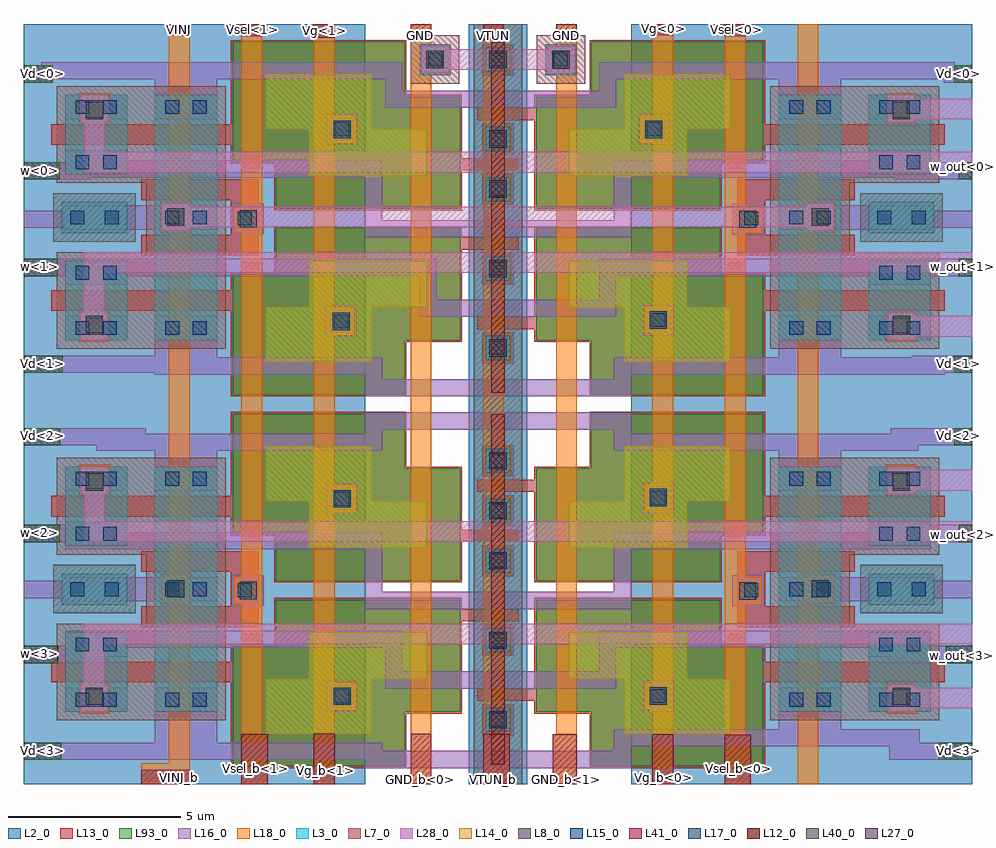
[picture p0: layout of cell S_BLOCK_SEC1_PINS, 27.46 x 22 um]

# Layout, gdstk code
from math import pi, radians
import gdstk
lib = gdstk.Library(unit=1e-6, precision=1e-09)
def R(c, l, rs):  # rectangles x0, y0, x1, y1
    for r in rs: c.add(gdstk.rectangle(r[:2], r[2:], *l))
def A(c, l, x, y, w, h, nx, ny, dx, dy):  # array of equal rectangles
    R(c, l, [(x+i*dx, y+j*dy, x+i*dx+w, y+j*dy+h) for i in range(nx) for j in range(ny)])
L2_0 = (2, 0)
L3_0 = (3, 0)
L7_0 = (7, 0)
L8_0 = (8, 0)
L12_0 = (12, 0)
L13_0 = (13, 0)
L14_0 = (14, 0)
L15_0 = (15, 0)
L16_0 = (16, 0)
L17_0 = (17, 0)
L18_0 = (18, 0)
L27_0 = (27, 0)
L28_0 = (28, 0)
L40_0 = (40, 0)
L41_0 = (41, 0)
L93_0 = (93, 0)

pch_cdns_744990268020 = lib.new_cell('pch_CDNS_744990268020')
R(pch_cdns_744990268020, L2_0, [(-2.05,-1.2,2.65,3)])
R(pch_cdns_744990268020, L3_0, [(-0.85,0,-0.15,1.8), (-0.85,0,-0.15,1.8), (-0.15,0,0.75,1.8), (0.75,0,1.45,1.8), (0.75,0,1.45,1.8)])
R(pch_cdns_744990268020, L7_0, [(-1.1,-0.25,1.7,2.05)])
R(pch_cdns_744990268020, L13_0, [(0,-0.4,0.6,2.2)])
R(pch_cdns_744990268020, L15_0, [(-0.7,0.3,-0.3,0.7), (0.9,0.3,1.3,0.7), (-0.7,1.1,-0.3,1.5), (0.9,1.1,1.3,1.5)])
R(pch_cdns_744990268020, L16_0, [(-0.85,0,-0.15,1.8), (0.75,0,1.45,1.8)])
pch_cdns_744990268020.add(gdstk.Label('S', (1.1,0.9), layer=59, texttype=0))
pch_cdns_744990268020.add(gdstk.Label('D', (-0.5,0.9), layer=59, texttype=0))
pch_cdns_744990268020.add(gdstk.Label('G', (0.3,0.9), layer=59, texttype=0))
pch_cdns_744990268020.add(gdstk.Label('& SerialNumber 000000', (0,0), layer=16, texttype=0))
pch_cdns_744990268020.add(gdstk.Label('& Distributor VIS', (0,0), layer=16, texttype=0))
pch_cdns_744990268020.add(gdstk.Label('& Metric 1', (0,0), layer=16, texttype=0))
pch_cdns_744990268020.add(gdstk.Label('& Version    \t  1.7A', (0,0), layer=16, texttype=0))
pch_cdns_744990268020.add(gdstk.Label('& PDKName     vis35cv', (0,0), layer=16, texttype=0))
pch_cdns_744990268020.add(gdstk.Label('& Vendor VIS Corp.', (0,0), layer=16, texttype=0))
pch_cdns_744990268020.add(gdstk.Label('& SerialNumber 000000', (0,0), layer=63, texttype=63))
pch_cdns_744990268020.add(gdstk.Label('& Distributor VIS', (0,0), layer=63, texttype=63))
pch_cdns_744990268020.add(gdstk.Label('& Metric 1', (0,0), layer=63, texttype=63))
pch_cdns_744990268020.add(gdstk.Label('& Version    \t  1.7A', (0,0), layer=63, texttype=63))
pch_cdns_744990268020.add(gdstk.Label('& PDKName     vis35cv', (0,0), layer=63, texttype=63))
pch_cdns_744990268020.add(gdstk.Label('& Vendor VIS Corp.', (0,0), layer=63, texttype=63))

pch_cdns_744990268021 = lib.new_cell('pch_CDNS_744990268021')
R(pch_cdns_744990268021, L2_0, [(-2.05,-1.2,2.65,3)])
R(pch_cdns_744990268021, L3_0, [(-0.85,0,-0.15,1.8), (-0.85,0,-0.15,1.8), (-0.15,0,0.75,1.8), (0.75,0,1.45,1.8), (0.75,0,1.45,1.8)])
R(pch_cdns_744990268021, L7_0, [(-1.1,-0.25,1.7,2.05)])
R(pch_cdns_744990268021, L13_0, [(0,-0.4,0.6,2.2)])
R(pch_cdns_744990268021, L15_0, [(-0.7,0.3,-0.3,0.7), (0.9,0.3,1.3,0.7), (-0.7,1.1,-0.3,1.5), (0.9,1.1,1.3,1.5)])
R(pch_cdns_744990268021, L16_0, [(-0.85,0,-0.15,1.8), (0.75,0,1.45,1.8)])
pch_cdns_744990268021.add(gdstk.Label('D', (1.1,0.9), layer=59, texttype=0))
pch_cdns_744990268021.add(gdstk.Label('S', (-0.5,0.9), layer=59, texttype=0))
pch_cdns_744990268021.add(gdstk.Label('G', (0.3,0.9), layer=59, texttype=0))
pch_cdns_744990268021.add(gdstk.Label('& SerialNumber 000000', (0,0), layer=16, texttype=0))
pch_cdns_744990268021.add(gdstk.Label('& Distributor VIS', (0,0), layer=16, texttype=0))
pch_cdns_744990268021.add(gdstk.Label('& Metric 1', (0,0), layer=16, texttype=0))
pch_cdns_744990268021.add(gdstk.Label('& Version    \t  1.7A', (0,0), layer=16, texttype=0))
pch_cdns_744990268021.add(gdstk.Label('& PDKName     vis35cv', (0,0), layer=16, texttype=0))
pch_cdns_744990268021.add(gdstk.Label('& Vendor VIS Corp.', (0,0), layer=16, texttype=0))
pch_cdns_744990268021.add(gdstk.Label('& SerialNumber 000000', (0,0), layer=63, texttype=63))
pch_cdns_744990268021.add(gdstk.Label('& Distributor VIS', (0,0), layer=63, texttype=63))
pch_cdns_744990268021.add(gdstk.Label('& Metric 1', (0,0), layer=63, texttype=63))
pch_cdns_744990268021.add(gdstk.Label('& Version    \t  1.7A', (0,0), layer=63, texttype=63))
pch_cdns_744990268021.add(gdstk.Label('& PDKName     vis35cv', (0,0), layer=63, texttype=63))
pch_cdns_744990268021.add(gdstk.Label('& Vendor VIS Corp.', (0,0), layer=63, texttype=63))

pch_cdns_744990268022 = lib.new_cell('pch_CDNS_744990268022')
R(pch_cdns_744990268022, L2_0, [(-2.05,-1.2,7.45,3)])
A(pch_cdns_744990268022, L3_0, -0.85, 0, 0.7, 1.8, 5, 1, 1.6, 0)
A(pch_cdns_744990268022, L3_0, -0.15, 0, 0.9, 1.8, 4, 1, 1.6, 0)
R(pch_cdns_744990268022, L3_0, [(-0.85,0,-0.15,1.8), (5.55,0,6.25,1.8)])
R(pch_cdns_744990268022, L7_0, [(-1.1,-0.25,6.5,2.05)])
A(pch_cdns_744990268022, L13_0, 0, -0.4, 0.6, 2.6, 4, 1, 1.6, 0)
R(pch_cdns_744990268022, L15_0, [(-0.7,0.3,-0.3,0.7), (5.7,0.3,6.1,0.7), (-0.7,1.1,-0.3,1.5), (5.7,1.1,6.1,1.5)])
R(pch_cdns_744990268022, L16_0, [(-0.85,0,-0.15,1.8), (5.55,0,6.25,1.8)])
pch_cdns_744990268022.add(gdstk.Label('S', (-0.5,0.9), layer=59, texttype=0))
pch_cdns_744990268022.add(gdstk.Label('S', (5.9,0.9), layer=59, texttype=0))
pch_cdns_744990268022.add(gdstk.Label('G', (5.1,0.9), layer=59, texttype=0))
pch_cdns_744990268022.add(gdstk.Label('G', (3.5,0.9), layer=59, texttype=0))
pch_cdns_744990268022.add(gdstk.Label('G', (1.9,0.9), layer=59, texttype=0))
pch_cdns_744990268022.add(gdstk.Label('G', (0.3,0.9), layer=59, texttype=0))
pch_cdns_744990268022.add(gdstk.Label('& SerialNumber 000000', (0,0), layer=16, texttype=0))
pch_cdns_744990268022.add(gdstk.Label('& Distributor VIS', (0,0), layer=16, texttype=0))
pch_cdns_744990268022.add(gdstk.Label('& Metric 1', (0,0), layer=16, texttype=0))
pch_cdns_744990268022.add(gdstk.Label('& Version    \t  1.7A', (0,0), layer=16, texttype=0))
pch_cdns_744990268022.add(gdstk.Label('& PDKName     vis35cv', (0,0), layer=16, texttype=0))
pch_cdns_744990268022.add(gdstk.Label('& Vendor VIS Corp.', (0,0), layer=16, texttype=0))
pch_cdns_744990268022.add(gdstk.Label('& SerialNumber 000000', (0,0), layer=63, texttype=63))
pch_cdns_744990268022.add(gdstk.Label('& Distributor VIS', (0,0), layer=63, texttype=63))
pch_cdns_744990268022.add(gdstk.Label('& Metric 1', (0,0), layer=63, texttype=63))
pch_cdns_744990268022.add(gdstk.Label('& Version    \t  1.7A', (0,0), layer=63, texttype=63))
pch_cdns_744990268022.add(gdstk.Label('& PDKName     vis35cv', (0,0), layer=63, texttype=63))
pch_cdns_744990268022.add(gdstk.Label('& Vendor VIS Corp.', (0,0), layer=63, texttype=63))

pch_cdns_744990268023 = lib.new_cell('pch_CDNS_744990268023')
R(pch_cdns_744990268023, L2_0, [(-2.05,-1.2,2.65,3)])
R(pch_cdns_744990268023, L3_0, [(-0.85,0,-0.15,1.8), (-0.85,0,-0.15,1.8), (-0.15,0,0.75,1.8), (0.75,0,1.45,1.8), (0.75,0,1.45,1.8)])
R(pch_cdns_744990268023, L7_0, [(-1.1,-0.25,1.7,2.05)])
R(pch_cdns_744990268023, L13_0, [(0,-0.4,0.6,2.2)])
R(pch_cdns_744990268023, L15_0, [(0.9,0.3,1.3,0.7), (0.9,1.1,1.3,1.5)])
R(pch_cdns_744990268023, L16_0, [(0.75,0,1.45,1.8)])
pch_cdns_744990268023.add(gdstk.Label('S', (1.1,0.9), layer=59, texttype=0))
pch_cdns_744990268023.add(gdstk.Label('G', (0.3,0.9), layer=59, texttype=0))
pch_cdns_744990268023.add(gdstk.Label('& SerialNumber 000000', (0,0), layer=16, texttype=0))
pch_cdns_744990268023.add(gdstk.Label('& Distributor VIS', (0,0), layer=16, texttype=0))
pch_cdns_744990268023.add(gdstk.Label('& Metric 1', (0,0), layer=16, texttype=0))
pch_cdns_744990268023.add(gdstk.Label('& Version    \t  1.7A', (0,0), layer=16, texttype=0))
pch_cdns_744990268023.add(gdstk.Label('& PDKName     vis35cv', (0,0), layer=16, texttype=0))
pch_cdns_744990268023.add(gdstk.Label('& Vendor VIS Corp.', (0,0), layer=16, texttype=0))
pch_cdns_744990268023.add(gdstk.Label('& SerialNumber 000000', (0,0), layer=63, texttype=63))
pch_cdns_744990268023.add(gdstk.Label('& Distributor VIS', (0,0), layer=63, texttype=63))
pch_cdns_744990268023.add(gdstk.Label('& Metric 1', (0,0), layer=63, texttype=63))
pch_cdns_744990268023.add(gdstk.Label('& Version    \t  1.7A', (0,0), layer=63, texttype=63))
pch_cdns_744990268023.add(gdstk.Label('& PDKName     vis35cv', (0,0), layer=63, texttype=63))
pch_cdns_744990268023.add(gdstk.Label('& Vendor VIS Corp.', (0,0), layer=63, texttype=63))

pch_cdns_744990268024 = lib.new_cell('pch_CDNS_744990268024')
R(pch_cdns_744990268024, L2_0, [(-2.05,-1.2,2.65,3)])
R(pch_cdns_744990268024, L3_0, [(-0.85,0,-0.15,1.8), (-0.85,0,-0.15,1.8), (-0.15,0,0.75,1.8), (0.75,0,1.45,1.8), (0.75,0,1.45,1.8)])
R(pch_cdns_744990268024, L7_0, [(-1.1,-0.25,1.7,2.05)])
R(pch_cdns_744990268024, L13_0, [(0,-0.4,0.6,2.2)])
pch_cdns_744990268024.add(gdstk.Label('G', (0.3,0.9), layer=59, texttype=0))
pch_cdns_744990268024.add(gdstk.Label('& SerialNumber 000000', (0,0), layer=63, texttype=63))
pch_cdns_744990268024.add(gdstk.Label('& Distributor VIS', (0,0), layer=63, texttype=63))
pch_cdns_744990268024.add(gdstk.Label('& Metric 1', (0,0), layer=63, texttype=63))
pch_cdns_744990268024.add(gdstk.Label('& Version    \t  1.7A', (0,0), layer=63, texttype=63))
pch_cdns_744990268024.add(gdstk.Label('& PDKName     vis35cv', (0,0), layer=63, texttype=63))
pch_cdns_744990268024.add(gdstk.Label('& Vendor VIS Corp.', (0,0), layer=63, texttype=63))
pch_cdns_744990268024.add(gdstk.Label('& SerialNumber 000000', (0,0), layer=16, texttype=0))
pch_cdns_744990268024.add(gdstk.Label('& Distributor VIS', (0,0), layer=16, texttype=0))
pch_cdns_744990268024.add(gdstk.Label('& Metric 1', (0,0), layer=16, texttype=0))
pch_cdns_744990268024.add(gdstk.Label('& Version    \t  1.7A', (0,0), layer=16, texttype=0))
pch_cdns_744990268024.add(gdstk.Label('& PDKName     vis35cv', (0,0), layer=16, texttype=0))
pch_cdns_744990268024.add(gdstk.Label('& Vendor VIS Corp.', (0,0), layer=16, texttype=0))

pch_cdns_744990268025 = lib.new_cell('pch_CDNS_744990268025')
R(pch_cdns_744990268025, L2_0, [(-2.05,-1.2,2.65,3)])
R(pch_cdns_744990268025, L3_0, [(-0.85,0,-0.15,1.8), (-0.85,0,-0.15,1.8), (-0.15,0,0.75,1.8), (0.75,0,1.45,1.8), (0.75,0,1.45,1.8)])
R(pch_cdns_744990268025, L7_0, [(-1.1,-0.25,1.7,2.05)])
R(pch_cdns_744990268025, L13_0, [(0,-0.4,0.6,2.2)])
R(pch_cdns_744990268025, L15_0, [(-0.7,0.3,-0.3,0.7), (-0.7,1.1,-0.3,1.5)])
R(pch_cdns_744990268025, L16_0, [(-0.85,0,-0.15,1.8)])
pch_cdns_744990268025.add(gdstk.Label('D', (-0.5,0.9), layer=59, texttype=0))
pch_cdns_744990268025.add(gdstk.Label('G', (0.3,0.9), layer=59, texttype=0))
pch_cdns_744990268025.add(gdstk.Label('& SerialNumber 000000', (0,0), layer=16, texttype=0))
pch_cdns_744990268025.add(gdstk.Label('& Distributor VIS', (0,0), layer=16, texttype=0))
pch_cdns_744990268025.add(gdstk.Label('& Metric 1', (0,0), layer=16, texttype=0))
pch_cdns_744990268025.add(gdstk.Label('& Version    \t  1.7A', (0,0), layer=16, texttype=0))
pch_cdns_744990268025.add(gdstk.Label('& PDKName     vis35cv', (0,0), layer=16, texttype=0))
pch_cdns_744990268025.add(gdstk.Label('& Vendor VIS Corp.', (0,0), layer=16, texttype=0))
pch_cdns_744990268025.add(gdstk.Label('& SerialNumber 000000', (0,0), layer=63, texttype=63))
pch_cdns_744990268025.add(gdstk.Label('& Distributor VIS', (0,0), layer=63, texttype=63))
pch_cdns_744990268025.add(gdstk.Label('& Metric 1', (0,0), layer=63, texttype=63))
pch_cdns_744990268025.add(gdstk.Label('& Version    \t  1.7A', (0,0), layer=63, texttype=63))
pch_cdns_744990268025.add(gdstk.Label('& PDKName     vis35cv', (0,0), layer=63, texttype=63))
pch_cdns_744990268025.add(gdstk.Label('& Vendor VIS Corp.', (0,0), layer=63, texttype=63))

m3_m2_cdns_744990268020 = lib.new_cell('M3_M2_CDNS_744990268020')
R(m3_m2_cdns_744990268020, L18_0, [(-0.45,-0.45,0.45,0.45)])
R(m3_m2_cdns_744990268020, L27_0, [(-0.25,-0.25,0.25,0.25)])
R(m3_m2_cdns_744990268020, L28_0, [(-0.4,-0.4,0.4,0.4)])

m2_m1_cdns_744990268021 = lib.new_cell('M2_M1_CDNS_744990268021')
R(m2_m1_cdns_744990268021, L16_0, [(-0.45,-0.45,0.45,0.45)])
R(m2_m1_cdns_744990268021, L17_0, [(-0.25,-0.25,0.25,0.25)])
R(m2_m1_cdns_744990268021, L18_0, [(-0.4,-0.4,0.4,0.4)])

m1_pactive_cdns_74499026 = lib.new_cell('M1_PACTIVE_CDNS_744990268022')
R(m1_pactive_cdns_74499026, L3_0, [(-0.45,-0.45,0.45,0.45)])
R(m1_pactive_cdns_74499026, L7_0, [(-0.7,-0.7,0.7,0.7)])
R(m1_pactive_cdns_74499026, L15_0, [(-0.2,-0.2,0.2,0.2)])
R(m1_pactive_cdns_74499026, L16_0, [(-0.35,-0.35,0.35,0.35)])

m1_nactive_cdns_74499026 = lib.new_cell('M1_NACTIVE_CDNS_744990268023')
R(m1_nactive_cdns_74499026, L3_0, [(-0.95,-0.45,0.95,0.45)])
R(m1_nactive_cdns_74499026, L8_0, [(-1.2,-0.7,1.2,0.7)])
R(m1_nactive_cdns_74499026, L15_0, [(-0.7,-0.2,-0.3,0.2), (0.3,-0.2,0.7,0.2)])
R(m1_nactive_cdns_74499026, L16_0, [(-0.85,-0.35,0.85,0.35)])

m1_poly1_cdns_7449902680 = lib.new_cell('M1_POLY1_CDNS_744990268024')
R(m1_poly1_cdns_7449902680, L13_0, [(-0.4,-0.4,0.4,0.4)])
R(m1_poly1_cdns_7449902680, L15_0, [(-0.2,-0.2,0.2,0.2)])
R(m1_poly1_cdns_7449902680, L16_0, [(-0.45,-0.45,0.45,0.45)])

c_m1_poly1_cdns_7449902680 = lib.new_cell('M1_POLY1_CDNS_744990268025')
R(c_m1_poly1_cdns_7449902680, L13_0, [(-0.4,-0.4,0.4,0.4)])
R(c_m1_poly1_cdns_7449902680, L15_0, [(-0.2,-0.2,0.2,0.2)])
R(c_m1_poly1_cdns_7449902680, L16_0, [(-0.35,-0.35,0.35,0.35)])

s_block_sec1_pins = lib.new_cell('S_BLOCK_SEC1_PINS')
R(s_block_sec1_pins, L2_0, [(0,0,9.88,0.89), (12.88,0,14.58,11.02), (17.58,0,27.46,0.89), (6.8,0.89,9.88,10.39), (17.58,0.89,20.66,10.39), (0,5.59,2.6,5.69), (24.86,5.59,27.46,5.69), (0,10.39,9.88,11.02), (17.58,10.39,27.46,11.02), (0,11.02,9.88,11.65), (12.88,11.02,14.58,22), (17.58,11.02,27.46,11.65), (6.8,11.65,9.88,21.15), (17.58,11.65,20.66,21.15), (0,16.35,2.6,16.45), (24.86,16.35,27.46,16.45), (0,21.15,9.88,22), (17.58,21.15,27.46,22)])
A(s_block_sec1_pins, L3_0, 13.38, 1.51, 0.7, 0.7, 1, 3, 0, 2.3)
A(s_block_sec1_pins, L3_0, 13.38, 12.27, 0.7, 0.7, 1, 3, 0, 2.3)
R(s_block_sec1_pins, L3_0, [(3.8,5.29,5.6,5.99), (3.8,5.29,5.6,5.99), (21.86,5.29,23.66,5.99), (21.86,5.29,23.66,5.99), (13.38,7.56,14.08,8.26), (13.38,9.01,14.08,9.71), (3.8,16.05,5.6,16.75), (3.8,16.05,5.6,16.75), (21.86,16.05,23.66,16.75), (21.86,16.05,23.66,16.75), (13.38,18.32,14.08,19.02), (13.38,20.62,14.08,21.32)])
R(s_block_sec1_pins, L7_0, [(3.25,1.84,3.55,4.64), (23.91,1.84,24.21,4.64), (3.25,6.64,3.55,9.44), (23.91,6.64,24.21,9.44), (3.25,12.6,3.55,15.4), (23.91,12.6,24.21,15.4), (3.25,17.4,3.55,20.2), (23.91,17.4,24.21,20.2)])
R(s_block_sec1_pins, L8_0, [(13.03,0,14.43,11.02), (13.03,11.02,14.43,22)])
R(s_block_sec1_pins, L12_0, [(13.53,0.56,13.93,10.71), (13.53,11.32,13.93,21.47)])
A(s_block_sec1_pins, L13_0, 16.38, 0.46, 3.83, 4.93, 1, 4, 0, 5.38)
R(s_block_sec1_pins, L13_0, [(6,0.46,7.25,4.04), (7.25,0.46,11.08,5.39), (17.68,0.46,20.21,5.39), (20.21,0.46,21.46,4.04), (7.25,2.04,12.68,5.39), (14.78,2.04,20.21,5.39), (13.13,2.41,17.68,2.76), (6,4.54,6.8,6.74), (20.66,4.54,21.46,6.74), (9.78,4.71,14.33,5.06), (7.25,5.84,12.68,7.01), (14.78,5.84,20.21,7.01), (7.25,7.01,10.08,10.77), (9.78,7.01,12.68,9.19), (9.78,7.01,14.33,7.36), (14.78,7.01,17.68,9.19), (6,7.19,7.25,10.77), (20.21,7.19,21.46,10.77), (13.13,8.46,17.68,8.81), (10.08,9.18,11.08,10.77), (6,11.22,7.25,14.8), (7.25,11.22,11.08,16.15), (17.68,11.22,20.21,16.15), (20.21,11.22,21.46,14.8), (7.25,12.8,12.68,16.15), (14.78,12.8,20.21,16.15), (13.13,13.17,17.68,13.52), (6,15.3,6.8,17.5), (20.66,15.3,21.46,17.5), (9.78,15.47,14.33,15.82), (7.25,16.6,12.68,17.77), (14.78,16.6,20.21,17.77), (7.25,17.77,10.08,21.53), (9.78,17.77,12.68,19.95), (12.68,17.77,14.33,18.12), (14.78,17.77,17.68,19.95), (6,17.95,7.25,21.53), (20.21,17.95,21.46,21.53), (13.13,19.22,17.68,19.57), (10.08,19.94,11.08,21.53)])
R(s_block_sec1_pins, L14_0, [(7,1.46,10.08,3.04), (17.38,1.46,20.46,3.04), (8.25,3.04,11.68,4.39), (15.78,3.04,19.21,4.39), (8.25,6.84,11.68,8.19), (15.78,6.84,19.21,8.19), (7,8.19,10.08,9.77), (17.38,8.19,20.46,9.77), (7,12.22,10.08,13.8), (17.38,12.22,20.46,13.8), (8.25,13.8,11.68,15.15), (15.78,13.8,19.21,15.15), (8.25,17.6,11.68,18.95), (15.78,17.6,19.21,18.95), (7,18.95,10.08,20.53), (17.38,18.95,20.46,20.53)])
A(s_block_sec1_pins, L15_0, 13.53, 1.66, 0.4, 0.4, 1, 3, 0, 2.3)
A(s_block_sec1_pins, L15_0, 13.53, 12.42, 0.4, 0.4, 1, 3, 0, 2.3)
R(s_block_sec1_pins, L15_0, [(4.1,5.44,4.5,5.84), (4.9,5.44,5.3,5.84), (22.16,5.44,22.56,5.84), (22.96,5.44,23.36,5.84), (13.53,7.71,13.93,8.11), (13.53,9.16,13.93,9.56), (4.1,16.2,4.5,16.6), (4.9,16.2,5.3,16.6), (22.16,16.2,22.56,16.6), (22.96,16.2,23.36,16.6), (13.53,18.47,13.93,18.87), (13.53,20.77,13.93,21.17)])
R(s_block_sec1_pins, L16_0, [(3.8,1.2,5.6,2.09), (13.28,1.41,14.18,2.31), (13.28,1.41,14.18,2.31), (21.86,1.59,23.66,2.09), (13.28,3.71,14.18,4.61), (13.28,3.71,14.18,4.61), (3.8,5.29,5.6,5.99), (21.86,5.29,23.66,5.99), (0,5.38,1.2,5.88), (26.26,5.38,27.46,5.88), (13.28,6.01,14.18,6.91), (13.28,6.01,14.18,6.91), (13.28,7.46,14.18,8.36), (13.28,7.46,14.18,8.36), (13.28,8.91,14.18,9.81), (13.28,8.91,14.18,9.81), (3.8,9.19,5.6,9.64), (21.86,9.19,23.66,9.64), (13.28,12.17,14.18,13.07), (13.28,12.17,14.18,13.07), (3.8,12.35,5.6,12.85), (21.86,12.35,23.66,12.85), (13.28,14.47,14.18,15.37), (13.28,14.47,14.18,15.37), (3.8,16.05,5.6,16.75), (21.86,16.05,23.66,16.75), (0,16.1,1.2,16.6), (26.26,16.1,27.46,16.6), (13.28,16.77,14.18,17.67), (13.28,16.77,14.18,17.67), (0,17.5,1.92,18), (13.28,18.22,14.18,19.12), (13.28,18.22,14.18,19.12), (3.8,19.95,5.6,20.4), (21.86,19.95,23.66,20.4), (13.28,20.52,14.18,21.42), (13.28,20.52,14.18,21.42)])
A(s_block_sec1_pins, L17_0, 13.48, 1.61, 0.5, 0.5, 1, 3, 0, 2.3)
A(s_block_sec1_pins, L17_0, 13.48, 12.37, 0.5, 0.5, 1, 3, 0, 2.3)
R(s_block_sec1_pins, L17_0, [(13.48,7.66,13.98,8.16), (13.48,9.11,13.98,9.61), (13.48,18.42,13.98,18.92), (13.48,20.72,13.98,21.22)])
A(s_block_sec1_pins, L18_0, 13.33, 1.46, 0.8, 0.8, 1, 3, 0, 2.3)
A(s_block_sec1_pins, L18_0, 13.33, 12.22, 0.8, 0.8, 1, 3, 0, 2.3)
R(s_block_sec1_pins, L18_0, [(3.4,0,4.8,0.6), (6.9,0,7.06,1.44), (13.9,0,14.07,1.46), (15.31,0,15.41,1.44), (20.9,0,21.04,1.42), (13.33,7.51,14.13,8.31), (13.33,8.96,14.13,9.76), (13.33,18.27,14.13,19.07), (13.33,20.57,14.13,21.37)])
R(s_block_sec1_pins, L40_0, [(0,0.7,1.09,1.2), (26.49,0.7,27.46,1.2), (0,3.5,1,4), (26.69,3.5,27.46,4), (0,7,1.04,7.5), (27.07,7,27.46,7.5), (0,9.8,1.06,10.3), (26.94,9.8,27.46,10.3), (0,11.9,1.13,12.4), (26.94,11.9,27.46,12.4), (0,14.7,0.98,15.2), (27.07,14.7,27.46,15.2), (0,17.5,1.05,18), (27.07,17.5,27.46,18), (0,20.3,0.84,20.8), (26.94,20.3,27.46,20.8)])
R(s_block_sec1_pins, L41_0, [(3.4,0,4.8,0.41), (6.3,0,7.06,1.44), (8.4,0,9,1.46), (11.2,0,11.8,1.46), (13.3,0,14.07,1.46), (15.31,0,16.01,1.44), (18.2,0,18.8,1.44), (20.3,0,21.04,1.42), (11.2,21.53,11.8,22), (13.3,21.53,13.9,22), (15.41,21.53,16.01,22), (8.4,21.6,9,22), (6.3,21.64,6.9,22), (20.3,21.64,20.9,22), (4.2,21.66,4.8,22), (18.2,21.68,18.8,22)])
R(s_block_sec1_pins, L93_0, [(6.05,0.51,11.03,3.99), (16.43,0.51,21.41,3.99), (7.3,2.09,12.63,5.34), (14.83,2.09,20.16,5.34), (7.3,5.89,12.63,9.14), (14.83,5.89,20.16,9.14), (6.05,7.24,11.03,10.72), (16.43,7.24,21.41,10.72), (6.05,11.27,11.03,14.75), (16.43,11.27,21.41,14.75), (7.3,12.85,12.63,16.1), (14.83,12.85,20.16,16.1), (7.3,16.65,12.63,19.9), (14.83,16.65,20.16,19.9), (6.05,18,11.03,21.48), (16.43,18,21.41,21.48)])
s_block_sec1_pins.add(gdstk.FlexPath([(26.63,20.55),(27.46,20.55)], 0.5, ends="flush", simple_path=True, layer=16, datatype=0))  # L16_0
s_block_sec1_pins.add(gdstk.FlexPath([(25.24,17.75),(27.46,17.75)], 0.5, ends="flush", simple_path=True, layer=16, datatype=0))  # L16_0
s_block_sec1_pins.add(gdstk.FlexPath([(25.41,16.4),(26.26,16.4)], 0.7, ends="flush", simple_path=True, layer=16, datatype=0))  # L16_0
s_block_sec1_pins.add(gdstk.FlexPath([(21.86,16.4),(25.41,16.4)], 0.7, ends="flush", simple_path=True, layer=16, datatype=0))  # L16_0
s_block_sec1_pins.add(gdstk.FlexPath([(0,14.95),(11.62,14.95)], 0.5, ends="flush", simple_path=True, layer=16, datatype=0))  # L16_0
s_block_sec1_pins.add(gdstk.FlexPath([(16.91,20.65),(26.95,20.65)], 0.5, ends=(0.25, 0), simple_path=True, layer=16, datatype=0))  # L16_0
s_block_sec1_pins.add(gdstk.FlexPath([(10.71,19.82),(16.91,19.82)], 0.5, ends="extended", simple_path=True, layer=16, datatype=0))  # L16_0
s_block_sec1_pins.add(gdstk.FlexPath([(10.71,20.65),(10.71,19.82)], 0.5, ends="extended", simple_path=True, layer=16, datatype=0))  # L16_0
s_block_sec1_pins.add(gdstk.FlexPath([(16.91,19.82),(16.91,20.65)], 0.5, ends="extended", simple_path=True, layer=16, datatype=0))  # L16_0
s_block_sec1_pins.add(gdstk.FlexPath([(0.51,20.65),(10.71,20.65)], 0.5, ends=(0, 0.25), simple_path=True, layer=16, datatype=0))  # L16_0
s_block_sec1_pins.add(gdstk.FlexPath([(10.13,16.07),(17.33,16.07)], 0.5, ends="extended", simple_path=True, layer=16, datatype=0))  # L16_0
s_block_sec1_pins.add(gdstk.FlexPath([(17.33,16.07),(17.33,17.8)], 0.5, ends="extended", simple_path=True, layer=16, datatype=0))  # L16_0
s_block_sec1_pins.add(gdstk.FlexPath([(17.33,17.8),(26.26,17.8)], 0.5, ends=(0.25, 0), simple_path=True, layer=16, datatype=0))  # L16_0
s_block_sec1_pins.add(gdstk.FlexPath([(10.13,17.8),(10.13,16.07)], 0.5, ends="extended", simple_path=True, layer=16, datatype=0))  # L16_0
s_block_sec1_pins.add(gdstk.FlexPath([(10.13,17.8),(1.2,17.8)], 0.5, ends=(0.25, 0), simple_path=True, layer=16, datatype=0))  # L16_0
s_block_sec1_pins.add(gdstk.FlexPath([(5.6,16.4),(2.05,16.4)], 0.7, ends="flush", simple_path=True, layer=16, datatype=0))  # L16_0
s_block_sec1_pins.add(gdstk.FlexPath([(2.05,16.4),(1.2,16.4)], 0.7, ends="flush", simple_path=True, layer=16, datatype=0))  # L16_0
s_block_sec1_pins.add(gdstk.FlexPath([(0.84,20.55),(0,20.55)], 0.5, ends="flush", simple_path=True, layer=16, datatype=0))  # L16_0
s_block_sec1_pins.add(gdstk.FlexPath([(25.7,12.15),(27.46,12.15)], 0.5, ends="flush", simple_path=True, layer=16, datatype=0))  # L16_0
s_block_sec1_pins.add(gdstk.FlexPath([(25.1,10.05),(27.46,10.05)], 0.5, ends="flush", simple_path=True, layer=16, datatype=0))  # L16_0
s_block_sec1_pins.add(gdstk.FlexPath([(17.58,9.89),(25.9,9.89)], 0.5, ends="flush", simple_path=True, layer=16, datatype=0))  # L16_0
s_block_sec1_pins.add(gdstk.FlexPath([(17.33,12.1),(26.66,12.1)], 0.5, ends=(0.25, 0), simple_path=True, layer=16, datatype=0))  # L16_0
s_block_sec1_pins.add(gdstk.FlexPath([(17.08,12.1),(17.33,12.1)], 0.5, ends=(0, 0.25), simple_path=True, layer=16, datatype=0))  # L16_0
s_block_sec1_pins.add(gdstk.FlexPath([(16.91,14.95),(27.46,14.95)], 0.5, ends=(0.25, 0), simple_path=True, layer=16, datatype=0))  # L16_0
s_block_sec1_pins.add(gdstk.FlexPath([(16.91,13.77),(16.91,14.95)], 0.5, ends="extended", simple_path=True, layer=16, datatype=0))  # L16_0
s_block_sec1_pins.add(gdstk.FlexPath([(11.71,13.77),(16.91,13.77)], 0.5, ends="extended", simple_path=True, layer=16, datatype=0))  # L16_0
s_block_sec1_pins.add(gdstk.FlexPath([(11.71,14.95),(11.71,13.77)], 0.5, ends="extended", simple_path=True, layer=16, datatype=0))  # L16_0
s_block_sec1_pins.add(gdstk.FlexPath([(17.33,11.47),(17.33,12.1)], 0.5, ends="extended", simple_path=True, layer=16, datatype=0))  # L16_0
s_block_sec1_pins.add(gdstk.FlexPath([(10.13,11.47),(17.33,11.47)], 0.5, ends="extended", simple_path=True, layer=16, datatype=0))  # L16_0
s_block_sec1_pins.add(gdstk.FlexPath([(10.13,12.1),(10.13,11.47)], 0.5, ends="extended", simple_path=True, layer=16, datatype=0))  # L16_0
s_block_sec1_pins.add(gdstk.FlexPath([(10.13,12.1),(10.38,12.1)], 0.5, ends=(0.25, 0), simple_path=True, layer=16, datatype=0))  # L16_0
s_block_sec1_pins.add(gdstk.FlexPath([(3.8,12.1),(10.13,12.1)], 0.5, ends=(0, 0.25), simple_path=True, layer=16, datatype=0))  # L16_0
s_block_sec1_pins.add(gdstk.FlexPath([(17.33,10.51),(17.33,9.89)], 0.5, ends="extended", simple_path=True, layer=16, datatype=0))  # L16_0
s_block_sec1_pins.add(gdstk.FlexPath([(10.13,10.51),(17.33,10.51)], 0.5, ends="extended", simple_path=True, layer=16, datatype=0))  # L16_0
s_block_sec1_pins.add(gdstk.FlexPath([(10.13,9.89),(10.13,10.51)], 0.5, ends="extended", simple_path=True, layer=16, datatype=0))  # L16_0
s_block_sec1_pins.add(gdstk.FlexPath([(2.1,9.89),(10.13,9.89)], 0.5, ends=(0, 0.25), simple_path=True, layer=16, datatype=0))  # L16_0
s_block_sec1_pins.add(gdstk.FlexPath([(0,12.15),(4.52,12.15)], 0.5, ends="flush", simple_path=True, layer=16, datatype=0))  # L16_0
s_block_sec1_pins.add(gdstk.FlexPath([(0,10.05),(3.53,10.05)], 0.5, ends="flush", simple_path=True, layer=16, datatype=0))  # L16_0
s_block_sec1_pins.add(gdstk.FlexPath([(25.32,7.25),(27.46,7.25)], 0.5, ends="flush", simple_path=True, layer=16, datatype=0))  # L16_0
s_block_sec1_pins.add(gdstk.FlexPath([(25.05,3.75),(27.46,3.75)], 0.5, ends="flush", simple_path=True, layer=16, datatype=0))  # L16_0
s_block_sec1_pins.add(gdstk.FlexPath([(25.05,0.95),(27.46,0.95)], 0.5, ends="flush", simple_path=True, layer=16, datatype=0))  # L16_0
s_block_sec1_pins.add(gdstk.FlexPath([(25.41,5.64),(26.26,5.64)], 0.7, ends="flush", simple_path=True, layer=16, datatype=0))  # L16_0
s_block_sec1_pins.add(gdstk.FlexPath([(21.86,5.64),(25.41,5.64)], 0.7, ends="flush", simple_path=True, layer=16, datatype=0))  # L16_0
s_block_sec1_pins.add(gdstk.FlexPath([(17.33,1.34),(25.94,1.34)], 0.5, ends=(0.25, 0), simple_path=True, layer=16, datatype=0))  # L16_0
s_block_sec1_pins.add(gdstk.FlexPath([(17.08,1.34),(17.33,1.34)], 0.5, ends=(0, 0.25), simple_path=True, layer=16, datatype=0))  # L16_0
s_block_sec1_pins.add(gdstk.FlexPath([(16.91,4.19),(26.26,4.19)], 0.5, ends=(0.25, 0), simple_path=True, layer=16, datatype=0))  # L16_0
s_block_sec1_pins.add(gdstk.FlexPath([(16.89,4.19),(16.91,4.19)], 0.5, ends=(0, 0.25), simple_path=True, layer=16, datatype=0))  # L16_0
s_block_sec1_pins.add(gdstk.FlexPath([(10.71,3.01),(16.91,3.01)], 0.5, ends="extended", simple_path=True, layer=16, datatype=0))  # L16_0
s_block_sec1_pins.add(gdstk.FlexPath([(16.91,3.01),(16.91,4.19)], 0.5, ends="extended", simple_path=True, layer=16, datatype=0))  # L16_0
s_block_sec1_pins.add(gdstk.FlexPath([(10.71,4.19),(10.71,3.01)], 0.5, ends="extended", simple_path=True, layer=16, datatype=0))  # L16_0
s_block_sec1_pins.add(gdstk.FlexPath([(1.21,4.19),(10.62,4.19)], 0.5, ends="flush", simple_path=True, layer=16, datatype=0))  # L16_0
s_block_sec1_pins.add(gdstk.FlexPath([(10.13,5.31),(17.33,5.31)], 0.5, ends="extended", simple_path=True, layer=16, datatype=0))  # L16_0
s_block_sec1_pins.add(gdstk.FlexPath([(10.13,7.04),(10.13,5.31)], 0.5, ends="extended", simple_path=True, layer=16, datatype=0))  # L16_0
s_block_sec1_pins.add(gdstk.FlexPath([(17.33,7.04),(26.26,7.04)], 0.5, ends=(0.25, 0), simple_path=True, layer=16, datatype=0))  # L16_0
s_block_sec1_pins.add(gdstk.FlexPath([(17.33,5.31),(17.33,7.04)], 0.5, ends="extended", simple_path=True, layer=16, datatype=0))  # L16_0
s_block_sec1_pins.add(gdstk.FlexPath([(10.13,7.04),(1.2,7.04)], 0.5, ends=(0.25, 0), simple_path=True, layer=16, datatype=0))  # L16_0
s_block_sec1_pins.add(gdstk.FlexPath([(10.13,0.71),(17.33,0.71)], 0.5, ends="extended", simple_path=True, layer=16, datatype=0))  # L16_0
s_block_sec1_pins.add(gdstk.FlexPath([(17.33,0.71),(17.33,1.34)], 0.5, ends="extended", simple_path=True, layer=16, datatype=0))  # L16_0
s_block_sec1_pins.add(gdstk.FlexPath([(10.13,0.95),(10.13,0.71)], 0.5, ends="extended", simple_path=True, layer=16, datatype=0))  # L16_0
s_block_sec1_pins.add(gdstk.FlexPath([(0,0.95),(10.13,0.95)], 0.5, ends=(0, 0.25), simple_path=True, layer=16, datatype=0))  # L16_0
s_block_sec1_pins.add(gdstk.FlexPath([(0,3.75),(2.43,3.75)], 0.5, ends="flush", simple_path=True, layer=16, datatype=0))  # L16_0
s_block_sec1_pins.add(gdstk.FlexPath([(0,7.25),(2.43,7.25)], 0.5, ends="flush", simple_path=True, layer=16, datatype=0))  # L16_0
s_block_sec1_pins.add(gdstk.FlexPath([(5.6,5.64),(2.05,5.64)], 0.7, ends="flush", simple_path=True, layer=16, datatype=0))  # L16_0
s_block_sec1_pins.add(gdstk.FlexPath([(2.05,5.64),(1.2,5.64)], 0.7, ends="flush", simple_path=True, layer=16, datatype=0))  # L16_0
s_block_sec1_pins.add(gdstk.FlexPath([(22.7,22),(22.7,0)], 0.6, ends="flush", simple_path=True, layer=18, datatype=0))  # L18_0
s_block_sec1_pins.add(gdstk.FlexPath([(20.6,22),(20.6,0)], 0.6, ends="flush", simple_path=True, layer=18, datatype=0))  # L18_0
s_block_sec1_pins.add(gdstk.FlexPath([(18.5,22),(18.5,0)], 0.6, ends="flush", simple_path=True, layer=18, datatype=0))  # L18_0
s_block_sec1_pins.add(gdstk.FlexPath([(15.71,0),(15.71,22)], 0.6, ends="flush", simple_path=True, layer=18, datatype=0))  # L18_0
s_block_sec1_pins.add(gdstk.FlexPath([(13.6,22),(13.6,0)], 0.6, ends="flush", simple_path=True, layer=18, datatype=0))  # L18_0
s_block_sec1_pins.add(gdstk.FlexPath([(11.5,0),(11.5,21.7)], 0.6, ends=(0, 0.3), simple_path=True, layer=18, datatype=0))  # L18_0
s_block_sec1_pins.add(gdstk.FlexPath([(8.7,22),(8.7,0)], 0.6, ends="flush", simple_path=True, layer=18, datatype=0))  # L18_0
s_block_sec1_pins.add(gdstk.FlexPath([(6.6,22),(6.6,0)], 0.6, ends="flush", simple_path=True, layer=18, datatype=0))  # L18_0
s_block_sec1_pins.add(gdstk.FlexPath([(4.5,22),(4.5,0)], 0.6, ends="flush", simple_path=True, layer=18, datatype=0))  # L18_0
s_block_sec1_pins.add(gdstk.FlexPath([(11.91,20.97),(15.58,20.97)], 0.6, ends="flush", simple_path=True, layer=28, datatype=0))  # L28_0
s_block_sec1_pins.add(gdstk.FlexPath([(4.4,16.41),(23.06,16.41)], 0.6, ends="flush", simple_path=True, layer=28, datatype=0))  # L28_0
s_block_sec1_pins.add(gdstk.FlexPath([(25.4,19.54),(27.46,19.54)], 0.6, ends="flush", simple_path=True, layer=28, datatype=0))  # L28_0
s_block_sec1_pins.add(gdstk.FlexPath([(2.05,19.54),(2.05,18)], 0.6, ends=(0, 0.3), simple_path=True, layer=28, datatype=0))  # L28_0
s_block_sec1_pins.add(gdstk.FlexPath([(2.05,18),(27.46,18)], 0.6, ends=(0.3, 0), simple_path=True, layer=28, datatype=0))  # L28_0
s_block_sec1_pins.add(gdstk.FlexPath([(2.04,15.1),(27.46,15.1)], 0.6, ends=(0.3, 0), simple_path=True, layer=28, datatype=0))  # L28_0
s_block_sec1_pins.add(gdstk.FlexPath([(2.04,13.25),(2.04,15.1)], 0.6, ends=(0, 0.3), simple_path=True, layer=28, datatype=0))  # L28_0
s_block_sec1_pins.add(gdstk.FlexPath([(25.41,13.25),(27.46,13.25)], 0.6, ends="flush", simple_path=True, layer=28, datatype=0))  # L28_0
s_block_sec1_pins.add(gdstk.FlexPath([(25.4,8.79),(27.46,8.79)], 0.6, ends="flush", simple_path=True, layer=28, datatype=0))  # L28_0
s_block_sec1_pins.add(gdstk.FlexPath([(2.05,8.85),(2.05,7.31)], 0.6, ends=(0, 0.3), simple_path=True, layer=28, datatype=0))  # L28_0
s_block_sec1_pins.add(gdstk.FlexPath([(2.05,7.31),(27.46,7.31)], 0.6, ends=(0.3, 0), simple_path=True, layer=28, datatype=0))  # L28_0
s_block_sec1_pins.add(gdstk.FlexPath([(2.04,4.34),(27.46,4.34)], 0.6, ends=(0.3, 0), simple_path=True, layer=28, datatype=0))  # L28_0
s_block_sec1_pins.add(gdstk.FlexPath([(2.04,2.49),(2.04,4.34)], 0.6, ends=(0, 0.3), simple_path=True, layer=28, datatype=0))  # L28_0
s_block_sec1_pins.add(gdstk.FlexPath([(25.41,2.49),(27.46,2.49)], 0.6, ends="flush", simple_path=True, layer=28, datatype=0))  # L28_0
s_block_sec1_pins.add(gdstk.Reference(pch_cdns_744990268020, (26.26,18.5), rotation=pi/2))
s_block_sec1_pins.add(gdstk.Reference(pch_cdns_744990268020, (26.26,7.74), rotation=pi/2))
s_block_sec1_pins.add(gdstk.Reference(pch_cdns_744990268020, (1.2,7.74), rotation=pi/2, x_reflection=True))
s_block_sec1_pins.add(gdstk.Reference(pch_cdns_744990268020, (1.2,18.5), rotation=pi/2, x_reflection=True))
s_block_sec1_pins.add(gdstk.Reference(pch_cdns_744990268021, (26.26,13.7), rotation=pi/2))
s_block_sec1_pins.add(gdstk.Reference(pch_cdns_744990268021, (26.26,2.94), rotation=pi/2))
s_block_sec1_pins.add(gdstk.Reference(pch_cdns_744990268021, (1.2,13.7), rotation=pi/2, x_reflection=True))
s_block_sec1_pins.add(gdstk.Reference(pch_cdns_744990268021, (1.2,2.94), rotation=pi/2, x_reflection=True))
s_block_sec1_pins.add(gdstk.Reference(pch_cdns_744990268022, (23.66,2.94), rotation=pi/2))
s_block_sec1_pins.add(gdstk.Reference(pch_cdns_744990268022, (23.66,13.7), rotation=pi/2))
s_block_sec1_pins.add(gdstk.Reference(pch_cdns_744990268022, (3.8,2.94), rotation=pi/2, x_reflection=True))
s_block_sec1_pins.add(gdstk.Reference(pch_cdns_744990268023, (3.8,15.3), rotation=pi/2, x_reflection=True))
s_block_sec1_pins.add(gdstk.Reference(pch_cdns_744990268023, (3.8,18.5), rotation=pi/2, x_reflection=True))
s_block_sec1_pins.add(gdstk.Reference(pch_cdns_744990268024, (3.8,16.9), rotation=pi/2, x_reflection=True))
s_block_sec1_pins.add(gdstk.Reference(pch_cdns_744990268025, (3.8,13.7), rotation=pi/2, x_reflection=True))
s_block_sec1_pins.add(gdstk.Reference(m3_m2_cdns_744990268020, (25.41,13.25)))
s_block_sec1_pins.add(gdstk.Reference(m3_m2_cdns_744990268020, (25.41,2.49)))
s_block_sec1_pins.add(gdstk.Reference(m3_m2_cdns_744990268020, (25.4,19.54)))
s_block_sec1_pins.add(gdstk.Reference(m3_m2_cdns_744990268020, (25.4,8.79)))
s_block_sec1_pins.add(gdstk.Reference(m3_m2_cdns_744990268020, (23.06,16.41)))
s_block_sec1_pins.add(gdstk.Reference(m3_m2_cdns_744990268020, (15.56,20.96)))
s_block_sec1_pins.add(gdstk.Reference(m3_m2_cdns_744990268020, (11.91,20.97)))
s_block_sec1_pins.add(gdstk.Reference(m3_m2_cdns_744990268020, (4.4,16.41)))
s_block_sec1_pins.add(gdstk.Reference(m3_m2_cdns_744990268020, (2.05,19.54)))
s_block_sec1_pins.add(gdstk.Reference(m3_m2_cdns_744990268020, (2.05,8.79)))
s_block_sec1_pins.add(gdstk.Reference(m3_m2_cdns_744990268020, (2.04,2.49)))
s_block_sec1_pins.add(gdstk.Reference(m3_m2_cdns_744990268020, (2.04,13.25)))
s_block_sec1_pins.add(gdstk.Reference(m2_m1_cdns_744990268021, (25.41,2.54)))
s_block_sec1_pins.add(gdstk.Reference(m2_m1_cdns_744990268021, (25.41,13.3)))
s_block_sec1_pins.add(gdstk.Reference(m2_m1_cdns_744990268021, (25.4,8.74)))
s_block_sec1_pins.add(gdstk.Reference(m2_m1_cdns_744990268021, (25.4,19.5)))
s_block_sec1_pins.add(gdstk.Reference(m2_m1_cdns_744990268021, (23.06,5.65)))
s_block_sec1_pins.add(gdstk.Reference(m2_m1_cdns_744990268021, (20.96,16.35)))
s_block_sec1_pins.add(gdstk.Reference(m2_m1_cdns_744990268021, (20.96,5.59)))
s_block_sec1_pins.add(gdstk.Reference(m2_m1_cdns_744990268021, (18.37,13.43)))
s_block_sec1_pins.add(gdstk.Reference(m2_m1_cdns_744990268021, (18.37,2.55)))
s_block_sec1_pins.add(gdstk.Reference(m2_m1_cdns_744990268021, (18.37,8.29)))
s_block_sec1_pins.add(gdstk.Reference(m2_m1_cdns_744990268021, (18.24,18.95)))
s_block_sec1_pins.add(gdstk.Reference(m2_m1_cdns_744990268021, (9.22,2.54)))
s_block_sec1_pins.add(gdstk.Reference(m2_m1_cdns_744990268021, (9.22,18.95)))
s_block_sec1_pins.add(gdstk.Reference(m2_m1_cdns_744990268021, (9.22,8.26)))
s_block_sec1_pins.add(gdstk.Reference(m2_m1_cdns_744990268021, (9.19,13.39), rotation=pi, x_reflection=True))
s_block_sec1_pins.add(gdstk.Reference(m2_m1_cdns_744990268021, (6.5,5.6)))
s_block_sec1_pins.add(gdstk.Reference(m2_m1_cdns_744990268021, (6.5,16.36)))
s_block_sec1_pins.add(gdstk.Reference(m2_m1_cdns_744990268021, (4.4,5.65), rotation=pi, x_reflection=True))
s_block_sec1_pins.add(gdstk.Reference(m2_m1_cdns_744990268021, (2.05,8.74), rotation=pi, x_reflection=True))
s_block_sec1_pins.add(gdstk.Reference(m2_m1_cdns_744990268021, (2.05,19.5), rotation=pi, x_reflection=True))
s_block_sec1_pins.add(gdstk.Reference(m2_m1_cdns_744990268021, (2.04,13.3), rotation=pi, x_reflection=True))
s_block_sec1_pins.add(gdstk.Reference(m2_m1_cdns_744990268021, (2.04,2.54), rotation=pi, x_reflection=True))
s_block_sec1_pins.add(gdstk.Reference(m2_m1_cdns_744990268021, (15.55,20.97)))
s_block_sec1_pins.add(gdstk.Reference(m2_m1_cdns_744990268021, (23.06,16.41)))
s_block_sec1_pins.add(gdstk.Reference(m2_m1_cdns_744990268021, (11.91,20.97)))
s_block_sec1_pins.add(gdstk.Reference(m2_m1_cdns_744990268021, (4.4,16.41), rotation=pi, x_reflection=True))
s_block_sec1_pins.add(gdstk.Reference(m1_pactive_cdns_74499026, (15.55,20.97)))
s_block_sec1_pins.add(gdstk.Reference(m1_pactive_cdns_74499026, (11.91,20.97)))
s_block_sec1_pins.add(gdstk.Reference(m1_nactive_cdns_74499026, (25.41,16.4)))
s_block_sec1_pins.add(gdstk.Reference(m1_nactive_cdns_74499026, (25.41,5.64)))
s_block_sec1_pins.add(gdstk.Reference(m1_nactive_cdns_74499026, (2.05,5.64), rotation=pi, x_reflection=True))
s_block_sec1_pins.add(gdstk.Reference(m1_nactive_cdns_74499026, (2.05,16.4), rotation=pi, x_reflection=True))
s_block_sec1_pins.add(gdstk.Reference(m1_poly1_cdns_7449902680, (18.37,13.43)))
s_block_sec1_pins.add(gdstk.Reference(m1_poly1_cdns_7449902680, (18.37,2.55)))
s_block_sec1_pins.add(gdstk.Reference(m1_poly1_cdns_7449902680, (18.37,8.29)))
s_block_sec1_pins.add(gdstk.Reference(m1_poly1_cdns_7449902680, (18.24,18.95)))
s_block_sec1_pins.add(gdstk.Reference(m1_poly1_cdns_7449902680, (9.22,2.54)))
s_block_sec1_pins.add(gdstk.Reference(m1_poly1_cdns_7449902680, (9.22,18.95)))
s_block_sec1_pins.add(gdstk.Reference(m1_poly1_cdns_7449902680, (9.22,8.26)))
s_block_sec1_pins.add(gdstk.Reference(m1_poly1_cdns_7449902680, (9.19,13.39), rotation=pi, x_reflection=True))
s_block_sec1_pins.add(gdstk.Reference(c_m1_poly1_cdns_7449902680, (21.06,16.37)))
s_block_sec1_pins.add(gdstk.Reference(c_m1_poly1_cdns_7449902680, (21.06,5.61)))
s_block_sec1_pins.add(gdstk.Reference(c_m1_poly1_cdns_7449902680, (6.4,16.37), rotation=pi, x_reflection=True))
s_block_sec1_pins.add(gdstk.Reference(c_m1_poly1_cdns_7449902680, (6.4,5.61), rotation=pi, x_reflection=True))
s_block_sec1_pins.add(gdstk.Label('GND_b<0>', (11.5,0.13), layer=41, texttype=0))
s_block_sec1_pins.add(gdstk.Label('Vg_b<0>', (18.51,0.18), layer=41, texttype=0))
s_block_sec1_pins.add(gdstk.Label('GND_b<1>', (15.71,0.13), layer=41, texttype=0))
s_block_sec1_pins.add(gdstk.Label('Vsel_b<0>', (20.68,0.46), layer=41, texttype=0))
s_block_sec1_pins.add(gdstk.Label('Vsel_b<1>', (6.7,0.46), layer=41, texttype=0))
s_block_sec1_pins.add(gdstk.Label('Vg_b<1>', (8.74,0.39), layer=41, texttype=0))
s_block_sec1_pins.add(gdstk.Label('VINJ_b', (4.51,0.18), layer=41, texttype=0))
s_block_sec1_pins.add(gdstk.Label('VTUN_b', (13.6,0.13), layer=41, texttype=0))
s_block_sec1_pins.add(gdstk.Label('GND', (15.71,21.66), layer=41, texttype=0))
s_block_sec1_pins.add(gdstk.Label('GND', (11.5,21.66), layer=41, texttype=0))
s_block_sec1_pins.add(gdstk.Label('VTUN', (13.6,21.66), layer=41, texttype=0))
s_block_sec1_pins.add(gdstk.Label('VINJ', (4.51,21.84), layer=41, texttype=0))
s_block_sec1_pins.add(gdstk.Label('Vg<0>', (18.51,21.86), layer=41, texttype=0))
s_block_sec1_pins.add(gdstk.Label('Vsel<0>', (20.63,21.84), layer=41, texttype=0))
s_block_sec1_pins.add(gdstk.Label('Vsel<1>', (6.63,21.84), layer=41, texttype=0))
s_block_sec1_pins.add(gdstk.Label('Vg<1>', (8.72,21.81), layer=41, texttype=0))
s_block_sec1_pins.add(gdstk.Label('w_out<0>', (27.25,17.87), layer=40, texttype=0))
s_block_sec1_pins.add(gdstk.Label('Vd<0>', (27.07,20.58), layer=40, texttype=0))
s_block_sec1_pins.add(gdstk.Label('Vd<1>', (27.07,12.18), layer=40, texttype=0))
s_block_sec1_pins.add(gdstk.Label('Vd<2>', (27.05,10.08), layer=40, texttype=0))
s_block_sec1_pins.add(gdstk.Label('Vd<3>', (27.07,0.98), layer=40, texttype=0))
s_block_sec1_pins.add(gdstk.Label('w_out<1>', (27.23,14.97), layer=40, texttype=0))
s_block_sec1_pins.add(gdstk.Label('Vd<3>', (0.53,0.98), layer=40, texttype=0))
s_block_sec1_pins.add(gdstk.Label('Vd<2>', (0.53,10.08), layer=40, texttype=0))
s_block_sec1_pins.add(gdstk.Label('Vd<1>', (0.53,12.18), layer=40, texttype=0))
s_block_sec1_pins.add(gdstk.Label('Vd<0>', (0.53,20.58), layer=40, texttype=0))
s_block_sec1_pins.add(gdstk.Label('w<0>', (0.47,17.77), layer=40, texttype=0))
s_block_sec1_pins.add(gdstk.Label('w<2>', (0.47,7.27), layer=40, texttype=0))
s_block_sec1_pins.add(gdstk.Label('w<3>', (0.47,3.77), layer=40, texttype=0))
s_block_sec1_pins.add(gdstk.Label('w<1>', (0.47,14.97), layer=40, texttype=0))
s_block_sec1_pins.add(gdstk.Label('w_out<2>', (27.26,7.23), layer=40, texttype=0))
s_block_sec1_pins.add(gdstk.Label('w_out<3>', (27.15,3.73), layer=40, texttype=0))

lib.write_gds('S_BLOCK_SEC1_PINS.gds')
